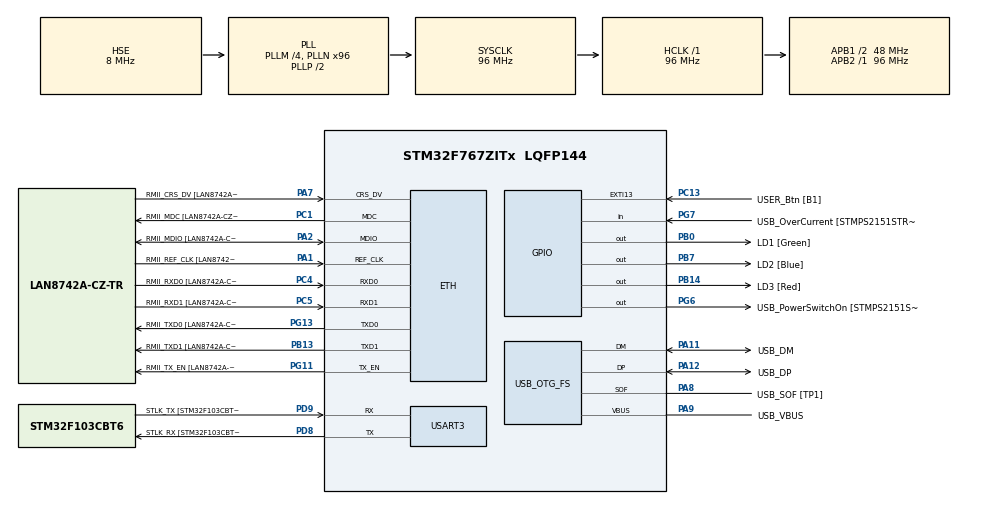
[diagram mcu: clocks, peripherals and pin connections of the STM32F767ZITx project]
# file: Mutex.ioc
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ETH.MediaInterface=HAL_ETH_RMII_MODE
ETH.PHY_Name=LAN8742A_PHY_ADDRESS
ETH.PHY_Value=0
ETH.PhyAddress=0
FREERTOS.Mutexes01=myMutex01,Dynamic,NULL,Available
FREERTOS.Tasks01=mtTask01,24,128,StartTask01,Default,NULL,Dynamic,NULL,NULL;myTask02,24,128,StartTask02,Default,NULL,Dynamic,NULL,NULL;myTask03,24,128,StartTask03,Default,NULL,Dynamic,NULL,NULL
FREERTOS.configUSE_NEWLIB_REENTRANT=1
Mcu.Family=STM32F7
Mcu.Name=STM32F767ZITx
Mcu.Package=LQFP144
NVIC.PriorityGroup=NVIC_PRIORITYGROUP_4
NVIC.TIM6_DAC_IRQn=true\:15\:0\:false\:false\:true\:false\:false\:true\:true
NVIC.TimeBase=TIM6_DAC_IRQn
NVIC.TimeBaseIP=TIM6
PA1.GPIO_Label=RMII_REF_CLK [LAN8742A-CZ-TR_REFCLK0]
PA1.Mode=RMII
PA1.Signal=ETH_REF_CLK
PA10.GPIO_Label=USB_ID
PA10.Signal=USB_OTG_FS_ID
PA11.GPIO_Label=USB_DM
PA11.Mode=Device_Only
PA11.Signal=USB_OTG_FS_DM
PA12.GPIO_Label=USB_DP
PA12.Mode=Device_Only
PA12.Signal=USB_OTG_FS_DP
PA13.GPIO_Label=TMS
PA13.Mode=Serial_Wire
PA13.Signal=SYS_JTMS-SWDIO
PA14.GPIO_Label=TCK
PA14.Mode=Serial_Wire
PA14.Signal=SYS_JTCK-SWCLK
PA2.GPIO_Label=RMII_MDIO [LAN8742A-CZ-TR_MDIO]
PA2.Mode=RMII
PA2.Signal=ETH_MDIO
PA7.GPIO_Label=RMII_CRS_DV [LAN8742A-CZ-TR_CRS_DV]
PA7.Mode=RMII
PA7.Signal=ETH_CRS_DV
PA8.GPIO_Label=USB_SOF [TP1]
PA8.Mode=Activate_SOF_FS
PA8.Signal=USB_OTG_FS_SOF
PA9.GPIO_Label=USB_VBUS
PA9.Mode=Activate_VBUS
PA9.Signal=USB_OTG_FS_VBUS
PB0.GPIO_Label=LD1 [Green]
PB0.Signal=GPIO_Output
PB13.GPIO_Label=RMII_TXD1 [LAN8742A-CZ-TR_TXD1]
PB13.Mode=RMII
PB13.Signal=ETH_TXD1
PB14.GPIO_Label=LD3 [Red]
PB14.Signal=GPIO_Output
PB3.GPIO_Label=SWO
PB3.Signal=SYS_JTDO-SWO
PB7.GPIO_Label=LD2 [Blue]
PB7.Signal=GPIO_Output
PC1.GPIO_Label=RMII_MDC [LAN8742A-CZ-TR_MDC]
PC1.Mode=RMII
PC1.Signal=ETH_MDC
PC13.GPIO_Label=USER_Btn [B1]
PC13.Signal=GPXTI13
PC14/OSC32_IN.Mode=LSE-External-Oscillator
PC14/OSC32_IN.Signal=RCC_OSC32_IN
PC15/OSC32_OUT.Mode=LSE-External-Oscillator
PC15/OSC32_OUT.Signal=RCC_OSC32_OUT
PC4.GPIO_Label=RMII_RXD0 [LAN8742A-CZ-TR_RXD0]
PC4.Mode=RMII
PC4.Signal=ETH_RXD0
PC5.GPIO_Label=RMII_RXD1 [LAN8742A-CZ-TR_RXD1]
PC5.Mode=RMII
PC5.Signal=ETH_RXD1
PD8.GPIO_Label=STLK_RX [STM32F103CBT6_PA3]
PD8.Mode=Asynchronous
PD8.Signal=USART3_TX
PD9.GPIO_Label=STLK_TX [STM32F103CBT6_PA2]
PD9.Mode=Asynchronous
PD9.Signal=USART3_RX
PG11.GPIO_Label=RMII_TX_EN [LAN8742A-CZ-TR_TXEN]
PG11.Mode=RMII
PG11.Signal=ETH_TX_EN
PG13.GPIO_Label=RMII_TXD0 [LAN8742A-CZ-TR_TXD0]
PG13.Mode=RMII
PG13.Signal=ETH_TXD0
PG6.GPIO_Label=USB_PowerSwitchOn [STMPS2151STR_EN]
PG6.Signal=GPIO_Output
PG7.GPIO_Label=USB_OverCurrent [STMPS2151STR_FAULT]
PG7.Signal=GPIO_Input
PH0/OSC_IN.GPIO_Label=MCO [STM32F103CBT6_PA8]
PH0/OSC_IN.Mode=HSE-External-Clock-Source
PH0/OSC_IN.Signal=RCC_OSC_IN
PH1/OSC_OUT.Mode=HSE-External-Clock-Source
PH1/OSC_OUT.Signal=RCC_OSC_OUT
ProjectManager.HeapSize=0x200
ProjectManager.StackSize=0x400
ProjectManager.TargetToolchain=STM32CubeIDE
RCC.48MHZClocksFreq_Value=24000000
RCC.AHBFreq_Value=96000000
RCC.APB1CLKDivider=RCC_HCLK_DIV2
RCC.APB1Freq_Value=48000000
RCC.APB1TimFreq_Value=96000000
RCC.APB2Freq_Value=96000000
RCC.APB2TimFreq_Value=96000000
RCC.CortexFreq_Value=96000000
RCC.HCLKFreq_Value=96000000
RCC.HSE_VALUE=8000000
RCC.HSI_VALUE=16000000
RCC.PLLM=4
RCC.PLLMUL=RCC_PLL_MUL9
RCC.PLLN=96
RCC.PLLQ=4
RCC.PRESCALERUSB=RCC_USBCLKSOURCE_PLL_DIV1_5
RCC.SYSCLKFreq_VALUE=96000000
RCC.SYSCLKSource=RCC_SYSCLKSOURCE_PLLCLK
RCC.SYSCLKSourceVirtual=RCC_SYSCLKSOURCE_PLLCLK
RCC.USBFreq_Value=48000000
RCC.VCOOutputFreq_Value=192000000
USART3.VirtualMode-Asynchronous=VM_ASYNC
USB_OTG_FS.VirtualMode=Device_Only
VP_FREERTOS_VS_CMSIS_V2.Mode=CMSIS_V2
VP_SYS_VS_tim6.Mode=TIM6
board=NUCLEO-F767ZI

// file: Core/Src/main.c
/* USER CODE BEGIN Header */
/**
  ******************************************************************************
  * @file           : main.c
  * @brief          : Main program body
  ******************************************************************************
  * @attention
  *
  * Copyright (c) 2025 STMicroelectronics.
  * All rights reserved.
  *
  * This software is licensed under terms that can be found in the LICENSE file
  * in the root directory of this software component.
  * If no LICENSE file comes with this software, it is provided AS-IS.
  *
  ******************************************************************************
  */
/* USER CODE END Header */
#include "main.h"
#include "string.h"
#include "cmsis_os.h"

#if defined ( __ICCARM__ ) /*!< IAR Compiler */
#pragma location=0x2007c000
ETH_DMADescTypeDef  DMARxDscrTab[ETH_RX_DESC_CNT]; /* Ethernet Rx DMA Descriptors */
#pragma location=0x2007c0a0
ETH_DMADescTypeDef  DMATxDscrTab[ETH_TX_DESC_CNT]; /* Ethernet Tx DMA Descriptors */

#elif defined ( __CC_ARM )  /* MDK ARM Compiler */

__attribute__((at(0x2007c000))) ETH_DMADescTypeDef  DMARxDscrTab[ETH_RX_DESC_CNT]; /* Ethernet Rx DMA Descriptors */
__attribute__((at(0x2007c0a0))) ETH_DMADescTypeDef  DMATxDscrTab[ETH_TX_DESC_CNT]; /* Ethernet Tx DMA Descriptors */

#elif defined ( __GNUC__ ) /* GNU Compiler */

ETH_DMADescTypeDef DMARxDscrTab[ETH_RX_DESC_CNT] __attribute__((section(".RxDecripSection"))); /* Ethernet Rx DMA Descriptors */
ETH_DMADescTypeDef DMATxDscrTab[ETH_TX_DESC_CNT] __attribute__((section(".TxDecripSection")));   /* Ethernet Tx DMA Descriptors */
#endif

ETH_TxPacketConfig TxConfig;

ETH_HandleTypeDef heth;

UART_HandleTypeDef huart3;

PCD_HandleTypeDef hpcd_USB_OTG_FS;

/* Definitions for mtTask01 */
osThreadId_t mtTask01Handle;
const osThreadAttr_t mtTask01_attributes = {
  .name = "mtTask01",
  .stack_size = 128 * 4,
  .priority = (osPriority_t) osPriorityNormal,
};
/* Definitions for myTask02 */
osThreadId_t myTask02Handle;
const osThreadAttr_t myTask02_attributes = {
  .name = "myTask02",
  .stack_size = 128 * 4,
  .priority = (osPriority_t) osPriorityNormal,
};
/* Definitions for myTask03 */
osThreadId_t myTask03Handle;
const osThreadAttr_t myTask03_attributes = {
  .name = "myTask03",
  .stack_size = 128 * 4,
  .priority = (osPriority_t) osPriorityNormal,
};
/* Definitions for myMutex01 */
osMutexId_t myMutex01Handle;
const osMutexAttr_t myMutex01_attributes = {
  .name = "myMutex01"
};

void SystemClock_Config(void);
static void MX_GPIO_Init(void);
static void MX_ETH_Init(void);
static void MX_USART3_UART_Init(void);
static void MX_USB_OTG_FS_PCD_Init(void);
void StartTask01(void *argument);
void StartTask02(void *argument);
void StartTask03(void *argument);

int main(void)
{

  /* MCU Configuration--------------------------------------------------------*/

  /* Reset of all peripherals, Initializes the Flash interface and the Systick. */
  HAL_Init();

  /* Configure the system clock */
  SystemClock_Config();

  /* Initialize all configured peripherals */
  MX_GPIO_Init();
  MX_ETH_Init();
  MX_USART3_UART_Init();
  MX_USB_OTG_FS_PCD_Init();

  /* Init scheduler */
  osKernelInitialize();
  /* Create the mutex(es) */
  /* creation of myMutex01 */
  myMutex01Handle = osMutexNew(&myMutex01_attributes);

  /* Create the thread(s) */
  /* creation of mtTask01 */
  mtTask01Handle = osThreadNew(StartTask01, NULL, &mtTask01_attributes);

  /* creation of myTask02 */
  myTask02Handle = osThreadNew(StartTask02, NULL, &myTask02_attributes);

  /* creation of myTask03 */
  myTask03Handle = osThreadNew(StartTask03, NULL, &myTask03_attributes);

  /* Start scheduler */
  osKernelStart();

  /* We should never get here as control is now taken by the scheduler */

  /* Infinite loop */
  while (1)
  {

  }
}

void SystemClock_Config(void)
{
  RCC_OscInitTypeDef RCC_OscInitStruct = {0};
  RCC_ClkInitTypeDef RCC_ClkInitStruct = {0};

  /** Configure LSE Drive Capability
  */
  HAL_PWR_EnableBkUpAccess();

  /** Configure the main internal regulator output voltage
  */
  __HAL_RCC_PWR_CLK_ENABLE();
  __HAL_PWR_VOLTAGESCALING_CONFIG(PWR_REGULATOR_VOLTAGE_SCALE3);

  /** Initializes the RCC Oscillators according to the specified parameters
  * in the RCC_OscInitTypeDef structure.
  */
  RCC_OscInitStruct.OscillatorType = RCC_OSCILLATORTYPE_HSE;
  RCC_OscInitStruct.HSEState = RCC_HSE_BYPASS;
  RCC_OscInitStruct.PLL.PLLState = RCC_PLL_ON;
  RCC_OscInitStruct.PLL.PLLSource = RCC_PLLSOURCE_HSE;
  RCC_OscInitStruct.PLL.PLLM = 4;
  RCC_OscInitStruct.PLL.PLLN = 96;
  RCC_OscInitStruct.PLL.PLLP = RCC_PLLP_DIV2;
  RCC_OscInitStruct.PLL.PLLQ = 4;
  RCC_OscInitStruct.PLL.PLLR = 2;
  if (HAL_RCC_OscConfig(&RCC_OscInitStruct) != HAL_OK)
  {
    Error_Handler();
  }

  /** Activate the Over-Drive mode
  */
  if (HAL_PWREx_EnableOverDrive() != HAL_OK)
  {
    Error_Handler();
  }

  /** Initializes the CPU, AHB and APB buses clocks
  */
  RCC_ClkInitStruct.ClockType = RCC_CLOCKTYPE_HCLK|RCC_CLOCKTYPE_SYSCLK
                              |RCC_CLOCKTYPE_PCLK1|RCC_CLOCKTYPE_PCLK2;
  RCC_ClkInitStruct.SYSCLKSource = RCC_SYSCLKSOURCE_PLLCLK;
  RCC_ClkInitStruct.AHBCLKDivider = RCC_SYSCLK_DIV1;
  RCC_ClkInitStruct.APB1CLKDivider = RCC_HCLK_DIV2;
  RCC_ClkInitStruct.APB2CLKDivider = RCC_HCLK_DIV1;

  if (HAL_RCC_ClockConfig(&RCC_ClkInitStruct, FLASH_LATENCY_3) != HAL_OK)
  {
    Error_Handler();
  }
}

static void MX_ETH_Init(void)
{

   static uint8_t MACAddr[6];

  heth.Instance = ETH;
  MACAddr[0] = 0x00;
  MACAddr[1] = 0x80;
  MACAddr[2] = 0xE1;
  MACAddr[3] = 0x00;
  MACAddr[4] = 0x00;
  MACAddr[5] = 0x00;
  heth.Init.MACAddr = &MACAddr[0];
  heth.Init.MediaInterface = HAL_ETH_RMII_MODE;
  heth.Init.TxDesc = DMATxDscrTab;
  heth.Init.RxDesc = DMARxDscrTab;
  heth.Init.RxBuffLen = 1524;

  if (HAL_ETH_Init(&heth) != HAL_OK)
  {
    Error_Handler();
  }

  memset(&TxConfig, 0 , sizeof(ETH_TxPacketConfig));
  TxConfig.Attributes = ETH_TX_PACKETS_FEATURES_CSUM | ETH_TX_PACKETS_FEATURES_CRCPAD;
  TxConfig.ChecksumCtrl = ETH_CHECKSUM_IPHDR_PAYLOAD_INSERT_PHDR_CALC;
  TxConfig.CRCPadCtrl = ETH_CRC_PAD_INSERT;

}

static void MX_USART3_UART_Init(void)
{

  huart3.Instance = USART3;
  huart3.Init.BaudRate = 115200;
  huart3.Init.WordLength = UART_WORDLENGTH_8B;
  huart3.Init.StopBits = UART_STOPBITS_1;
  huart3.Init.Parity = UART_PARITY_NONE;
  huart3.Init.Mode = UART_MODE_TX_RX;
  huart3.Init.HwFlowCtl = UART_HWCONTROL_NONE;
  huart3.Init.OverSampling = UART_OVERSAMPLING_16;
  huart3.Init.OneBitSampling = UART_ONE_BIT_SAMPLE_DISABLE;
  huart3.AdvancedInit.AdvFeatureInit = UART_ADVFEATURE_NO_INIT;
  if (HAL_UART_Init(&huart3) != HAL_OK)
  {
    Error_Handler();
  }

}

static void MX_USB_OTG_FS_PCD_Init(void)
{

  hpcd_USB_OTG_FS.Instance = USB_OTG_FS;
  hpcd_USB_OTG_FS.Init.dev_endpoints = 6;
  hpcd_USB_OTG_FS.Init.speed = PCD_SPEED_FULL;
  hpcd_USB_OTG_FS.Init.dma_enable = DISABLE;
  hpcd_USB_OTG_FS.Init.phy_itface = PCD_PHY_EMBEDDED;
  hpcd_USB_OTG_FS.Init.Sof_enable = ENABLE;
  hpcd_USB_OTG_FS.Init.low_power_enable = DISABLE;
  hpcd_USB_OTG_FS.Init.lpm_enable = DISABLE;
  hpcd_USB_OTG_FS.Init.vbus_sensing_enable = ENABLE;
  hpcd_USB_OTG_FS.Init.use_dedicated_ep1 = DISABLE;
  if (HAL_PCD_Init(&hpcd_USB_OTG_FS) != HAL_OK)
  {
    Error_Handler();
  }

}

static void MX_GPIO_Init(void)
{
  GPIO_InitTypeDef GPIO_InitStruct = {0};

  /* GPIO Ports Clock Enable */
  __HAL_RCC_GPIOC_CLK_ENABLE();
  __HAL_RCC_GPIOH_CLK_ENABLE();
  __HAL_RCC_GPIOA_CLK_ENABLE();
  __HAL_RCC_GPIOB_CLK_ENABLE();
  __HAL_RCC_GPIOD_CLK_ENABLE();
  __HAL_RCC_GPIOG_CLK_ENABLE();

  /*Configure GPIO pin Output Level */
  HAL_GPIO_WritePin(GPIOB, LD1_Pin|LD3_Pin|LD2_Pin, GPIO_PIN_RESET);

  /*Configure GPIO pin Output Level */
  HAL_GPIO_WritePin(USB_PowerSwitchOn_GPIO_Port, USB_PowerSwitchOn_Pin, GPIO_PIN_RESET);

  /*Configure GPIO pin : USER_Btn_Pin */
  GPIO_InitStruct.Pin = USER_Btn_Pin;
  GPIO_InitStruct.Mode = GPIO_MODE_IT_RISING;
  GPIO_InitStruct.Pull = GPIO_NOPULL;
  HAL_GPIO_Init(USER_Btn_GPIO_Port, &GPIO_InitStruct);

  /*Configure GPIO pins : LD1_Pin LD3_Pin LD2_Pin */
  GPIO_InitStruct.Pin = LD1_Pin|LD3_Pin|LD2_Pin;
  GPIO_InitStruct.Mode = GPIO_MODE_OUTPUT_PP;
  GPIO_InitStruct.Pull = GPIO_NOPULL;
  GPIO_InitStruct.Speed = GPIO_SPEED_FREQ_LOW;
  HAL_GPIO_Init(GPIOB, &GPIO_InitStruct);

  /*Configure GPIO pin : USB_PowerSwitchOn_Pin */
  GPIO_InitStruct.Pin = USB_PowerSwitchOn_Pin;
  GPIO_InitStruct.Mode = GPIO_MODE_OUTPUT_PP;
  GPIO_InitStruct.Pull = GPIO_NOPULL;
  GPIO_InitStruct.Speed = GPIO_SPEED_FREQ_LOW;
  HAL_GPIO_Init(USB_PowerSwitchOn_GPIO_Port, &GPIO_InitStruct);

  /*Configure GPIO pin : USB_OverCurrent_Pin */
  GPIO_InitStruct.Pin = USB_OverCurrent_Pin;
  GPIO_InitStruct.Mode = GPIO_MODE_INPUT;
  GPIO_InitStruct.Pull = GPIO_NOPULL;
  HAL_GPIO_Init(USB_OverCurrent_GPIO_Port, &GPIO_InitStruct);

}

void StartTask01(void *argument)
{
  /* USER CODE BEGIN 5 */
	char buf[64];
  /* Infinite loop */
  for(;;)
  {
    osStatus status = osMutexAcquire(myMutex01Handle, osWaitForever);
    if(status == osOK){
    	snprintf(buf, sizeof(buf), "Executing Task 01... \r \n");
		HAL_GPIO_WritePin(GPIOB, GPIO_PIN_0, GPIO_PIN_RESET);
		osMutexRelease(myMutex01Handle);
	  }
    HAL_UART_Transmit(&huart3, (uint8_t*)buf, strlen(buf), HAL_MAX_DELAY);
    osDelay(200);
    }
  /* USER CODE END 5 */
}

void StartTask02(void *argument)
{
  /* USER CODE BEGIN StartTask02 */
	char buf[64];
  /* Infinite loop */
  for(;;)
  {
    osStatus_t status = osMutexAcquire(myMutex01Handle, osWaitForever);
    if(status == osOK){
    	for(int i = 0; i<3; i++){
			snprintf(buf, sizeof(buf), "Executing Task 02, cycle: %d \r \n", i);
			HAL_UART_Transmit(&huart3, (uint8_t*)buf, strlen(buf), HAL_MAX_DELAY);
			osDelay(800);
			HAL_GPIO_TogglePin(GPIOB, GPIO_PIN_0);
		}
		osMutexRelease(myMutex01Handle);
		osDelay(200);
    }

  }
  /* USER CODE END StartTask02 */
}

void StartTask03(void *argument)
{
  /* USER CODE BEGIN StartTask03 */
	char buf[64];
  /* Infinite loop */
  for(;;)
  {
    osStatus_t status = osMutexAcquire(myMutex01Handle, 2000U);

    if(status == osOK){
    	snprintf(buf, sizeof(buf), "Executing Task 03... \r \n");
		HAL_UART_Transmit(&huart3, (uint8_t*)buf, strlen(buf), HAL_MAX_DELAY);
		osMutexRelease(myMutex01Handle);
    }
    else{
    	snprintf(buf, sizeof(buf), "Task 03: Waiting for Mutex for too long \r \n");
		HAL_UART_Transmit(&huart3, (uint8_t*)buf, strlen(buf), HAL_MAX_DELAY);
		HAL_GPIO_WritePin(GPIOB, GPIO_PIN_14, GPIO_PIN_SET);
    }
    osDelay(200);
  }
  /* USER CODE END StartTask03 */
}

void HAL_TIM_PeriodElapsedCallback(TIM_HandleTypeDef *htim)
{
  if (htim->Instance == TIM6) {
    HAL_IncTick();
  }
}

void Error_Handler(void)
{
  __disable_irq();
  while (1)
  {
  }
}
